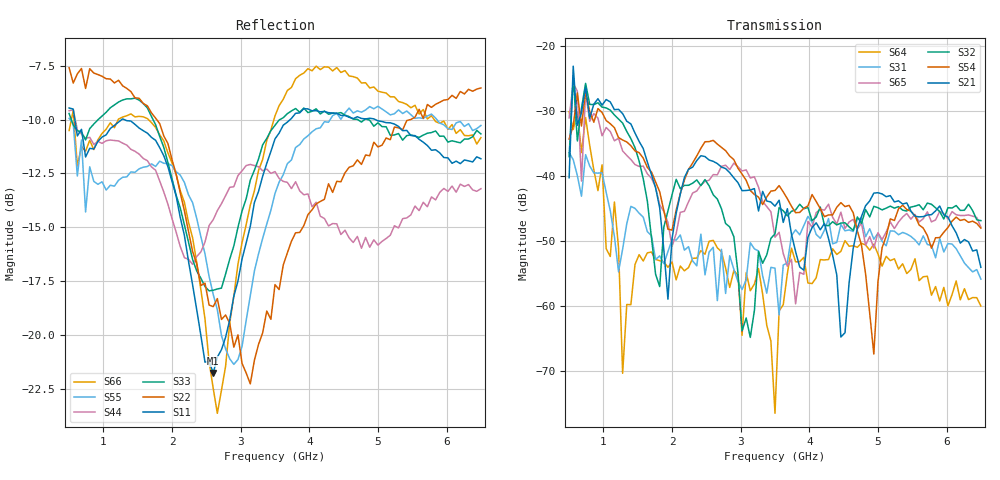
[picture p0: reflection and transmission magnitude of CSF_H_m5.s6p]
!Keysight Technologies,M9804A,MY58100912,A.14.10.03
!Date: Thursday, April 27, 2023 10:28:33
!Correction: S11(C  6-Port  )
!S12(C  6-Port  )
!S13(C  6-Port  )
!S14(C  6-Port  )
!S15(C  6-Port  )
!S16(C  6-Port  )
!S21(C  6-Port  )
!S22(C  6-Port  )
!S23(C  6-Port  )
!S24(C  6-Port  )
!S25(C  6-Port  )
!S26(C  6-Port  )
!S31(C  6-Port  )
!S32(C  6-Port  )
!S33(C  6-Port  )
!S34(C  6-Port  )
!S35(C  6-Port  )
!S36(C  6-Port  )
!S41(C  6-Port  )
!S42(C  6-Port  )
!S43(C  6-Port  )
!S44(C  6-Port  )
!S45(C  6-Port  )
!S46(C  6-Port  )
!S51(C  6-Port  )
!S52(C  6-Port  )
!S53(C  6-Port  )
!S54(C  6-Port  )
!S55(C  6-Port  )
!S56(C  6-Port  )
!S61(C  6-Port  )
!S62(C  6-Port  )
!S63(C  6-Port  )
!S64(C  6-Port  )
!S65(C  6-Port  )
!S66(C  6-Port  )
!S6P File: Measurement: :
# Hz S  RI  R 50
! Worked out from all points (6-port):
!   101 points, 500 MHz to 6.5 GHz, reference 50 ohm
!   strongest paths, dB at 500 MHz, 2 GHz, 3.5 GHz, 5 GHz, 6.5 GHz:
!     S21: -40.3, -49.6, -44.6, -42.6, -54.0
!     S54: -34.3, -48.3, -42.2, -56.3, -48.0
!     S32: -37.0, -42.9, -48.9, -44.9, -46.9
!     S65: -31.1, -50.8, -49.4, -48.7, -47.9
!     S31: -36.4, -49.8, -54.2, -48.8, -55.9
!     S64: -30.1, -53.2, -76.5, -52.0, -60.0
!   lowest |S11| = -21.8 dB at 2.6 GHz (marker M1), VSWR 1.18, Z = 42.7 + j1.95 ohm
!   |S11| at or under -10 dB: 583.4 MHz to 1.267 GHz (684 MHz wide, 73.9 % of centre); 1.303 GHz to 3.721 GHz (2.418 GHz wide, 96.3 % of centre); 4.961 GHz to end of sweep
